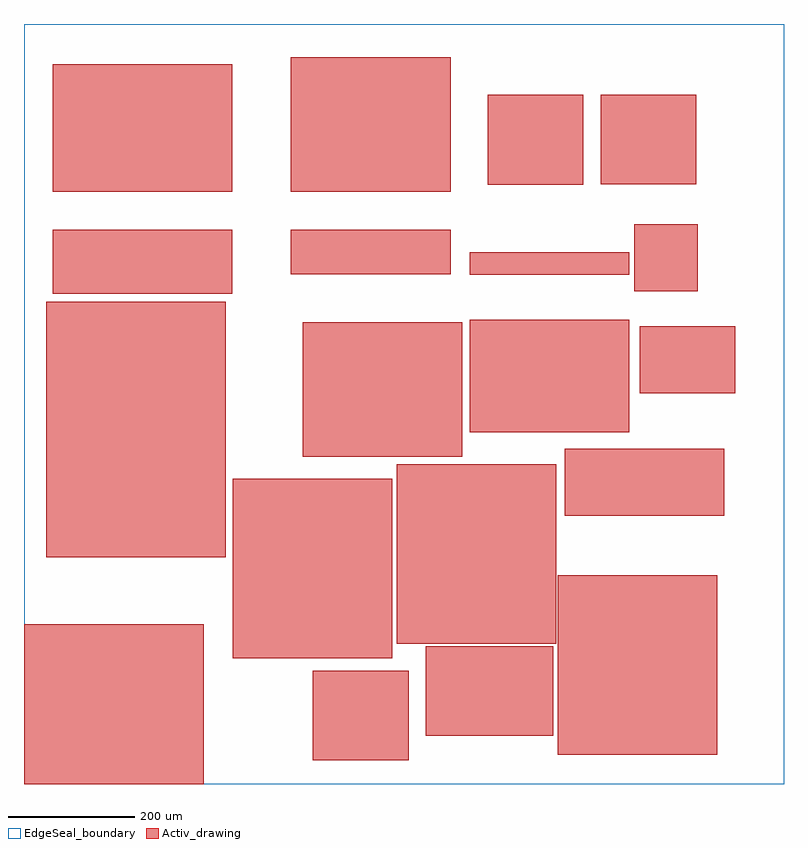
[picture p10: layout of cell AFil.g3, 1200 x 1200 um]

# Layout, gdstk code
import gdstk
lib = gdstk.Library(unit=1e-6, precision=1e-09)
def R(c, l, rs):  # rectangles x0, y0, x1, y1
    for r in rs: c.add(gdstk.rectangle(r[:2], r[2:], *l))
def A(c, l, x, y, w, h, nx, ny, dx, dy):  # array of equal rectangles
    R(c, l, [(x+i*dx, y+j*dy, x+i*dx+w, y+j*dy+h) for i in range(nx) for j in range(ny)])
Activ_drawing = (1, 0)
EdgeSeal_boundary = (39, 4)

afil_g3 = lib.new_cell('AFil.g3')
A(afil_g3, Activ_drawing, 0, 0, 35, 50, 8, 5, 35.5, 50.5)
A(afil_g3, Activ_drawing, 456.17, 37.335, 50, 35, 3, 4, 50.5, 35.5)
A(afil_g3, Activ_drawing, 842.445, 46.18, 50, 35, 5, 8, 50.5, 35.5)
A(afil_g3, Activ_drawing, 634.26, 75.921, 50, 35, 4, 4, 50.5, 35.5)
A(afil_g3, Activ_drawing, 329.688, 198.282, 50, 35, 5, 8, 50.5, 35.5)
A(afil_g3, Activ_drawing, 588.419, 221.176, 50, 35, 5, 8, 50.5, 35.5)
A(afil_g3, Activ_drawing, 35.235, 357.9, 35, 50, 8, 8, 35.5, 50.5)
A(afil_g3, Activ_drawing, 853.765, 423.64, 50, 35, 5, 3, 50.5, 35.5)
A(afil_g3, Activ_drawing, 439.975, 516.599, 50, 35, 5, 6, 50.5, 35.5)
A(afil_g3, Activ_drawing, 703.767, 555.78, 50, 35, 5, 5, 50.5, 35.5)
A(afil_g3, Activ_drawing, 972.075, 616.935, 50, 35, 3, 3, 50.5, 35.5)
A(afil_g3, Activ_drawing, 45.519, 774.407, 35, 50, 8, 2, 35.5, 50.5)
A(afil_g3, Activ_drawing, 703.767, 804.28, 50, 35, 5, 1, 50.5, 0)
A(afil_g3, Activ_drawing, 421.515, 804.71, 50, 35, 5, 2, 50.5, 35.5)
A(afil_g3, Activ_drawing, 45.519, 934.855, 35, 50, 8, 4, 35.5, 50.5)
A(afil_g3, Activ_drawing, 421.515, 935.158, 50, 35, 5, 6, 50.5, 35.5)
A(afil_g3, Activ_drawing, 731.901, 946.403, 50, 35, 3, 4, 50.5, 35.5)
A(afil_g3, Activ_drawing, 910.625, 946.998, 50, 35, 1, 4, 0, 35.5)
R(afil_g3, Activ_drawing, [(963.568,777.942,1013.568,812.942), (963.568,777.942,1013.568,812.942), (1014.068,777.942,1064.068,812.942), (1014.068,777.942,1064.068,812.942), (963.568,813.442,1013.568,848.442), (963.568,813.442,1013.568,848.442), (1014.068,813.442,1064.068,848.442), (1014.068,813.442,1064.068,848.442), (963.568,848.942,1013.568,883.942), (963.568,848.942,1013.568,883.942), (1014.068,848.942,1064.068,883.942), (1014.068,848.942,1064.068,883.942), (961.125,946.998,1011.125,981.998), (961.125,946.998,1011.125,981.998), (1011.625,946.998,1061.625,981.998), (1011.625,946.998,1061.625,981.998), (961.125,982.498,1011.125,1017.498), (961.125,982.498,1011.125,1017.498), (1011.625,982.498,1061.625,1017.498), (1011.625,982.498,1061.625,1017.498), (961.125,1017.998,1011.125,1052.998), (961.125,1017.998,1011.125,1052.998), (1011.625,1017.998,1061.625,1052.998), (1011.625,1017.998,1061.625,1052.998), (961.125,1053.498,1011.125,1088.498), (961.125,1053.498,1011.125,1088.498), (1011.625,1053.498,1061.625,1088.498), (1011.625,1053.498,1061.625,1088.498)])
R(afil_g3, EdgeSeal_boundary, [(0,0,1200,1200)])

lib.write_gds('AFil.g3.gds')
